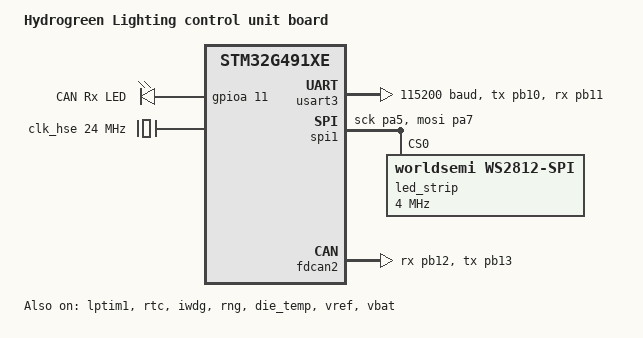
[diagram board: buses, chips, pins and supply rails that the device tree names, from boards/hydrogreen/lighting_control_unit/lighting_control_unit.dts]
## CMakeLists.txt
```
cmake_minimum_required(VERSION 3.13.1)

if(NOT DEFINED BOARD)
    set(BOARD lighting_control_unit CACHE STRING "Zephyr target board")
    message(STATUS "BOARD not defined externally, using default: ${BOARD}")
endif()

if(NOT DEFINED BOARD_ROOT)
    set(BOARD_ROOT ${CMAKE_CURRENT_SOURCE_DIR}/ CACHE PATH "Root directory for custom boards")
    message(STATUS "BOARD_ROOT not defined externally, using default: ${BOARD_ROOT}")
endif()

file(GLOB_RECURSE MYFILE LIST_DIRECTORIES true CONFIGURE_DEPENDS ${CMAKE_BINARY_DIR}/bin/*)

find_package(Zephyr REQUIRED HINTS $ENV{ZEPHYR_BASE})
project(app LANGUAGES C)
target_sources(app PRIVATE
        src/main.c
        src/lighting_control_unit.c
        peripherals/can.c
        peripherals/gpio.c
       # peripherals/adc.c
        peripherals/pwm.c
       # peripherals/counter.c
        peripherals/led_strip_ctrl.c
)

target_include_directories(app PRIVATE
        peripherals
        lib-can-definitions
        src
)
```

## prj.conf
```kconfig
# Project specific config
CONFIG_GPIO=y
CONFIG_CAN=y
CONFIG_LED_STRIP=y
CONFIG_LED_STRIP_LOG_LEVEL_DBG=y

CONFIG_NANOPB=y

# Debugging, tracing and logging settings
# (use the same for all projects)
CONFIG_STD_C23=y
CONFIG_FPU=y
CONFIG_ARM_MPU=y
CONFIG_HW_STACK_PROTECTION=y

CONFIG_SERIAL=y
CONFIG_LOG=y
CONFIG_LOG_MODE_IMMEDIATE=y
CONFIG_LOG_DEFAULT_LEVEL=3

CONFIG_CONSOLE=y
CONFIG_LOG_BACKEND_RTT=y
CONFIG_USE_SEGGER_RTT=y

CONFIG_TRACING=y
CONFIG_TRACING_BACKEND_RAM=y
CONFIG_TRACING_GPIO=n
CONFIG_TRACING_SYSCALL=y
CONFIG_SEGGER_SYSTEMVIEW=y
CONFIG_SEGGER_SYSTEMVIEW_BOOT_ENABLE=n
CONFIG_SEGGER_SYSVIEW_RTT_BUFFER_SIZE=4096
CONFIG_SEGGER_SYSVIEW_POST_MORTEM_MODE=n

CONFIG_DEBUG=y
CONFIG_DEBUG_OPTIMIZATIONS=y
CONFIG_THREAD_ANALYZER=y
CONFIG_THREAD_NAME=y
```

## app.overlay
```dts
//#include <zephyr/dt-bindings/gpio/gpio.h>
//#include <zephyr/dt-bindings/led/led.h>
//
/// {
//	led_strip: ws2812 {
//		compatible = "worldsemi,ws2812-gpio";
//
//		chain-length = <16>; /* arbitrary */
//		color-mapping = <LED_COLOR_ID_GREEN
//						 LED_COLOR_ID_RED
//						 LED_COLOR_ID_BLUE>;
//
//		//gpios = <&gpio0 8 0>;
//		prop-req = <0>;
//	};
//
//	aliases {
//		led-strip = &led_strip;
//	};
//};
```

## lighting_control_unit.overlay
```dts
#include <zephyr/dt-bindings/gpio/gpio.h>
#include <zephyr/dt-bindings/led/led.h>

/ {
	led_strip: ws2812 {
		compatible = "worldsemi,ws2812-gpio";

		chain-length = <16>; /* arbitrary */
		color-mapping = <LED_COLOR_ID_GREEN
						 LED_COLOR_ID_RED
						 LED_COLOR_ID_BLUE>;

		gpios = <&gpio0 8 0>;
		prop-req = <0>;
	};

	aliases {
		led-strip = &led_strip;
	};
};
```

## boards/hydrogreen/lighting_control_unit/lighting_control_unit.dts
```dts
/dts-v1/;
#include <st/g4/stm32g491Xe.dtsi>
#include <st/g4/stm32g491c(c-e)tx-pinctrl.dtsi>

#include <zephyr/dt-bindings/led/led.h>

/ {
	model = "Hydrogreen Lighting control unit board";
	compatible = "hydrogreen,lighting-control-unit";

	aliases {
		can-rx-led = &can_rx_led;
		led-strip = &led_strip;
		can = &fdcan2;
		//button = &user_button;
		watchdog0 = &iwdg;
		die-temp0 = &die_temp;
		volt-sensor0 = &vref;
		volt-sensor1 = &vbat;
	};

	chosen {
		zephyr,console = &usart3;
		zephyr,shell-uart = &usart3;
		zephyr,sram = &sram0;
		zephyr,flash = &flash0;
		zephyr,canbus = &fdcan2;
		zephyr,code-partition = &slot0_partition;
	};

	leds {
		compatible = "gpio-leds";
		can_rx_led: led_0 {
			gpios = <&gpioa 11 GPIO_ACTIVE_HIGH>;
			label = "CAN Rx LED";
		};
	};


//	gpio_keys {
//		compatible = "gpio-keys";
//		user_button: button {
//			label = "User";
//			gpios = <&gpioc 13 GPIO_ACTIVE_LOW>;
////			zephyr,code = <INPUT_KEY_0>;
//		};
//	};


};

&gpioa {
	status = "okay";
};

&gpiob {
	status = "okay";
};


&clk_lsi {
	status = "okay";
};

&clk_hsi48 {
	status = "okay";
};

&clk_hse {
	clock-frequency = <DT_FREQ_M(24)>;
	status = "okay";
};

&clk_hsi {
	status = "okay";
};

&pll {
	div-m = <6>;
	mul-n = <85>;
	div-p = <7>;
	div-q = <2>;
	div-r = <2>;
	clocks = <&clk_hse>;
	status = "okay";
};

&rcc {
	clocks = <&pll>;
	clock-frequency = <DT_FREQ_M(170)>;
	ahb-prescaler = <1>;
	apb1-prescaler = <1>;
	apb2-prescaler = <1>;
};

&usart3 {
	pinctrl-0 = <&usart3_tx_pb10 &usart3_rx_pb11>;
	pinctrl-names = "default";
	current-speed = <115200>;
	status = "okay";
};

//&lpuart1 {
//	pinctrl-0 = <&lpuart1_tx_pa2 &lpuart1_rx_pa3>;
//	pinctrl-1 = <&analog_pa2 &analog_pa3>;
//	pinctrl-names = "default", "sleep";
//	current-speed = <115200>;
//	status = "okay";
//};


&spi1 {
	pinctrl-0 = <&spi1_sck_pa5 &spi1_mosi_pa7>;
	pinctrl-names = "default";
//	cs-gpios = <&gpiob 6 (GPIO_ACTIVE_LOW | GPIO_PULL_UP)>;
	status = "okay";

	led_strip: ws2812@0 {
		compatible = "worldsemi,ws2812-spi";
		reg = <0>;
		spi-max-frequency = <4000000>;
		frame-format = <32768>; /* SPI_FRAME_FORMAT_TI */
		chain-length = <95>;

		spi-one-frame = <0x70>;
		spi-zero-frame = <0x40>;
		color-mapping = <LED_COLOR_ID_GREEN
						 LED_COLOR_ID_RED
						 LED_COLOR_ID_BLUE>;
	};
};

//&spi2 {
//	pinctrl-0 = <&spi2_nss_pb12 &spi2_sck_pb13
//				 &spi2_miso_pb14 &spi2_mosi_pb15>;
//	pinctrl-names = "default";
//	status = "okay";
//};

//&spi3 {
//	/* SPI3 on the ST Morpho Connector CN7 pins 17, 1, 2, 3*/
//	pinctrl-0 = <&spi3_nss_pa15 &spi3_sck_pc10
//				 &spi3_miso_pc11 &spi3_mosi_pc12>;
//	pinctrl-names = "default";
//	status = "okay";
//};

//&timers2 {
//	status = "okay";
//
//	pwm2: pwm {
//		status = "okay";
//		pinctrl-0 = <&tim2_ch1_pa5>;
//		pinctrl-names = "default";
//	};
//};
//
//&timers3 {
//	st,prescaler = <10000>;
//	status = "okay";
//	pwm3: pwm {
//		status = "okay";
//		pinctrl-0 = <&tim3_ch1_pb4>;
//		pinctrl-names = "default";
//	};
//};

stm32_lp_tick_source: &lptim1 {
	clocks = <&rcc STM32_CLOCK_BUS_APB1 0x80000000>,
			 <&rcc STM32_SRC_LSI LPTIM1_SEL(1)>;
	status = "okay";
};

&rtc {
	clocks = <&rcc STM32_CLOCK_BUS_APB1 0x00000400>,
			 <&rcc STM32_SRC_LSI RTC_SEL(2)>;
	status = "okay";
};

&flash0 {
	partitions {
		compatible = "fixed-partitions";
		#address-cells = <1>;
		#size-cells = <1>;

		boot_partition: partition@0 {
			label = "mcuboot";
			reg = <0x00000000 DT_SIZE_K(34)>;
		};
		slot0_partition: partition@8800 {
			label = "image-0";
			reg = <0x00008800 DT_SIZE_K(240)>;
		};
		slot1_partition: partition@44800 {
			label = "image-1";
			reg = <0x00044800 DT_SIZE_K(234)>;
		};
		/* Set 4Kb of storage at the end of the 512Kb of flash */
		storage_partition: partition@7f000 {
			label = "storage";
			reg = <0x0007f000 DT_SIZE_K(4)>;
		};
	};
};

&iwdg {
	status = "okay";
};

&rng {
	status = "okay";
};


&die_temp {
	status = "okay";
};

//&fdcan1 {
//	clocks = <&rcc STM32_CLOCK_BUS_APB1 0x02000000>,
//			 <&rcc STM32_SRC_HSE FDCAN_SEL(0)>;
//	pinctrl-0 = <&fdcan1_rx_pa11 &fdcan1_tx_pa12>;
//	pinctrl-names = "default";
//	status = "okay";
//};

&fdcan2 {
	pinctrl-0 = <&fdcan2_rx_pb12 &fdcan2_tx_pb13>;
	pinctrl-names = "default";
	status = "okay";
};

&vref {
	status = "okay";
};

&vbat {
	status = "okay";
};
```

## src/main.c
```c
#include <errno.h>
#include <string.h>
#include <zephyr/logging/log.h>
#include <zephyr/kernel.h>
#include <zephyr/device.h>
#include <zephyr/drivers/spi.h>
#include <zephyr/sys/util.h>

#include "gpio.h"
//#include "lighting_control_unit.h"

LOG_MODULE_REGISTER(main);

static struct gpio_dt_spec status_led = GPIO_DT_SPEC_GET(DT_ALIAS(can_rx_led), gpios);

bool bul = false;

void blink_led() {
    //ccu_rs485_init();
    //ccu_can_init();

    gpio_init(&status_led, GPIO_OUTPUT_INACTIVE);

    while (true) {
        gpio_pin_toggle_dt(&status_led);
        k_msleep(500);
        LOG_INF("%d", (int)bul);
        bul = !bul;
    }
}

int main(void) {
    //  lcu_init();

    blink_led();
    while (1) {
        k_sleep(K_FOREVER);
    }
}
```

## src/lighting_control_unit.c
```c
//
// Created by inż. Dawid Pisarczyk on 28.12.2025.
//

//LIGHT_HAZARD, LIGHT_BEAM, LIGHT_POSITION, LIGHT_RIGHT_INDICATOR, LIGHT_LEFT_INDICATOR

#include "lighting_control_unit.h"

#include "zephyr/drivers/gpio.h"

LOG_MODULE_REGISTER(lighting_control_unit, LOG_LEVEL_INF);

static const struct can_filter lcu_can_filters[] = {
	//CAN_FILTER(CAN_ID_BRAKE_PEDAL_VOLTAGE),
	//CAN_FILTER(CAN_ID_BUTTONS_LIGHTS_MASK),
};

lcu_can_t can = {
    .can_device = DEVICE_DT_GET(DT_ALIAS(can)),
    .can_rx_led = GPIO_DT_SPEC_GET(DT_ALIAS(can_rx_led), gpios),
};

lcu_lights_t lights = {
	.strip = DEVICE_DT_GET(DT_ALIAS(led_strip)),
	.num_pixels = STRIP_NUM_PIXELS,
	.pixels = {},
	.lights_mask = 0,
};

static void lcu_can_rx_callback(const struct device *dev, struct can_frame *frame, void *user_data) {

	ARG_UNUSED(dev);
	ARG_UNUSED(user_data);

	LOG_INF("CAN ID: 0x%03X, Data: %u", frame->id, frame->data[0]);

	switch((can_id_t)frame->id) {
		case CAN_ID_BRAKE_PEDAL_VOLTAGE:

			break;
		case CAN_ID_BUTTONS_LIGHTS_MASK:

			break;

		default:
			break;
	}
}

static void lcu_can_init() {
    can_init(can.can_device, HYDROGREEN_CAN_BAUD_RATE);
    gpio_init(&can.can_rx_led, GPIO_OUTPUT_INACTIVE);

	for (int i = 0; i < ARRAY_SIZE(lcu_can_filters); i++) {
    	can_add_rx_filter_(can.can_device, lcu_can_rx_callback, &lcu_can_filters[i]);
  	}
}

static void lcu_lights_init() {
	led_strip_init(lights.strip);
	led_strip_clear_all_pixels(lights.strip, lights.pixels, lights.num_pixels);
}

#define LCU_LIGHTS_LOGIC_STACK_SIZE 512
#define LCU_LIGHTS_LOGIC_PRIORITY 5

K_THREAD_STACK_DEFINE(lcu_lights_logic_stack_area, LCU_LIGHTS_LOGIC_STACK_SIZE);
struct k_thread lcu_lights_logic_thread_data;

static void lcu_lights_logic_thread(void *p1, void *p2, void *p3) {

}

#define LCU_LIGHTS_DRIVER_STACK_SIZE 512
#define LCU_LIGHTS_DRIVER_PRIORITY 5

K_THREAD_STACK_DEFINE(lcu_lights_driver_stack_area, LCU_LIGHTS_DRIVER_STACK_SIZE);
struct k_thread lcu_lights_driver_thread_data;

static void lcu_lights_driver_thread(void *p1, void *p2, void *p3) {

}



void lcu_init() {

    lcu_can_init();
	lcu_lights_init();

    // k_tid_t lcu_lights_logic_tid = k_thread_create(&lcu_lights_logic_thread_data, lcu_lights_logic_stack_area,
    //                                  K_THREAD_STACK_SIZEOF(lcu_lights_logic_stack_area),
    //                                  lcu_lights_logic_thread,
    //                                  NULL, NULL, NULL,
    //                                  LCU_LIGHTS_LOGIC_PRIORITY, 0, K_NO_WAIT);
    //
    // k_tid_t lcu_lights_driver_tid = k_thread_create(&lcu_lights_driver_thread_data, lcu_lights_driver_stack_area,
    //                                  K_THREAD_STACK_SIZEOF(lcu_lights_driver_stack_area),
    //                                  lcu_lights_driver_thread,
    //                                  NULL, NULL, NULL,
    //                                  LCU_LIGHTS_DRIVER_PRIORITY, 0, K_NO_WAIT);
}
```

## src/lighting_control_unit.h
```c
//
// Created by inż. Dawid Pisarczyk on 28.12.2025.
//

#ifndef LIGHTING_CONTROL_UNIT_H
#define LIGHTING_CONTROL_UNIT_H

#include <stdint.h>
#include <zephyr/kernel.h>
#include <zephyr/device.h>
#include <zephyr/logging/log.h>
#include <zephyr/drivers/led_strip.h>
#include "gpio.h"
#include "can.h"
#include "led_strip_ctrl.h"
#include "can_ids.h"

#define STRIP_NODE		DT_ALIAS(led_strip)
#define STRIP_NUM_PIXELS 16
// #if DT_NODE_HAS_PROP(DT_ALIAS(led_strip), chain_length)
// #define STRIP_NUM_PIXELS	DT_PROP(DT_ALIAS(led_strip), chain_length)
// #else
// #error Unable to determine length of LED strip
// #endif

typedef struct lcu_can_t{
    const struct device *can_device;
    struct gpio_dt_spec can_tx_led;
    struct gpio_dt_spec can_rx_led;
}lcu_can_t;

typedef struct lcu_lights_t{
    const struct device *const strip;
    struct led_rgb pixels[STRIP_NUM_PIXELS];
    uint8_t lights_mask;
    uint8_t num_pixels;
}lcu_lights_t;

void lcu_init();





#endif //LIGHTING_CONTROL_UNIT_H
```

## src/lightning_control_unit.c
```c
//
// Created by inż. Dawid Pisarczyk on 28.12.2025.
//

//LIGHT_HAZARD, LIGHT_BEAM, LIGHT_POSITION, LIGHT_RIGHT_INDICATOR, LIGHT_LEFT_INDICATOR

#include "lighting_control_unit.h"

LOG_MODULE_REGISTER(lightning_control_unit, LOG_LEVEL_INF);

static const struct can_filter lcu_can_filters[] = {
	CAN_FILTER(CAN_ID_BRAKE_PEDAL_VOLTAGE),
	CAN_FILTER(CAN_ID_BUTTONS_LIGHTS_MASK),
};

lcu_can_t can = {
    .can_device = DEVICE_DT_GET(DT_ALIAS(can)),
    .can_rx_led = GPIO_DT_SPEC_GET(DT_ALIAS(can_rx_led), gpios),
};

lcu_lights_t lights = {
	.strip = DEVICE_DT_GET(DT_ALIAS(led_strip)),
	.num_pixels = STRIP_NUM_PIXELS,
	.pixels = {},
	.lights_mask = 0,
};

static void lcu_can_rx_callback(const struct device *dev, struct can_frame *frame, void *user_data) {

	ARG_UNUSED(dev);
	ARG_UNUSED(user_data);

	LOG_INF("CAN ID: 0x%03X, Data: %u", frame->id, frame->data[0]);

	switch((can_id_t)frame->id) {
		case CAN_ID_BRAKE_PEDAL_VOLTAGE:

			break;
		case CAN_ID_BUTTONS_LIGHTS_MASK:

			break;

		default:
			break;
	}
}

static void lcu_can_init() {
    can_init(can.can_device, HYDROGREEN_CAN_BAUD_RATE);
    gpio_init(&can.can_rx_led, GPIO_OUTPUT_INACTIVE);

	for (int i = 0; i < ARRAY_SIZE(lcu_can_filters); i++) {
    	can_add_rx_filter_(can.can_device, lcu_can_rx_callback, &lcu_can_filters[i]);
  	}
}

static void lcu_lights_init() {
	led_strip_init(lights.strip);
	led_strip_clear_all_pixels(lights.strip, lights.pixels, lights.num_pixels);
}

#define LCU_LIGHTS_LOGIC_STACK_SIZE 512
#define LCU_LIGHTS_LOGIC_PRIORITY 5

K_THREAD_STACK_DEFINE(lcu_lights_logic_stack_area, LCU_LIGHTS_LOGIC_STACK_SIZE);
struct k_thread lcu_lights_logic_thread_data;

static void lcu_lights_logic_thread(void *p1, void *p2, void *p3) {

}

#define LCU_LIGHTS_DRIVER_STACK_SIZE 512
#define LCU_LIGHTS_DRIVER_PRIORITY 5

K_THREAD_STACK_DEFINE(lcu_lights_driver_stack_area, LCU_LIGHTS_DRIVER_STACK_SIZE);
struct k_thread lcu_lights_driver_thread_data;

static void lcu_lights_driver_thread(void *p1, void *p2, void *p3) {

}



void lcu_init() {

    lcu_can_init();
	lcu_lights_init();

    // k_tid_t lcu_lights_logic_tid = k_thread_create(&lcu_lights_logic_thread_data, lcu_lights_logic_stack_area,
    //                                  K_THREAD_STACK_SIZEOF(lcu_lights_logic_stack_area),
    //                                  lcu_lights_logic_thread,
    //                                  NULL, NULL, NULL,
    //                                  LCU_LIGHTS_LOGIC_PRIORITY, 0, K_NO_WAIT);
    //
    // k_tid_t lcu_lights_driver_tid = k_thread_create(&lcu_lights_driver_thread_data, lcu_lights_driver_stack_area,
    //                                  K_THREAD_STACK_SIZEOF(lcu_lights_driver_stack_area),
    //                                  lcu_lights_driver_thread,
    //                                  NULL, NULL, NULL,
    //                                  LCU_LIGHTS_DRIVER_PRIORITY, 0, K_NO_WAIT);
}
```
